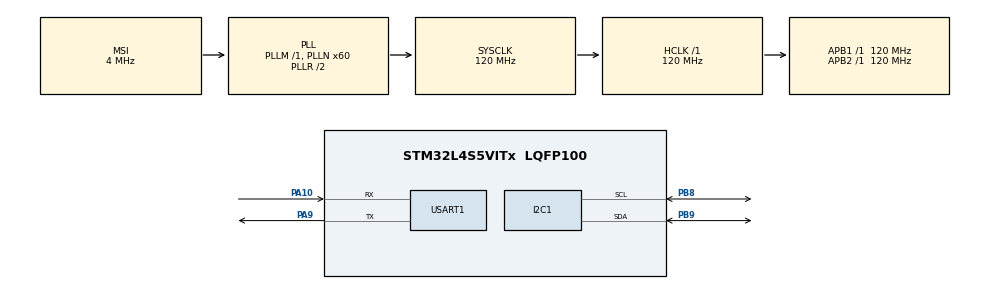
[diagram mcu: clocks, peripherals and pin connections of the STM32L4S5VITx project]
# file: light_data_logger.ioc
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I2C1.Timing=0x30A175AB
Mcu.Family=STM32L4
Mcu.Name=STM32L4S5VITx
Mcu.Package=LQFP100
NVIC.PriorityGroup=NVIC_PRIORITYGROUP_4
PA10.Mode=Asynchronous
PA10.Signal=USART1_RX
PA9.Mode=Asynchronous
PA9.Signal=USART1_TX
PB8.Mode=I2C
PB8.Signal=I2C1_SCL
PB9.Mode=I2C
PB9.Signal=I2C1_SDA
ProjectManager.HeapSize=0x200
ProjectManager.StackSize=0x400
ProjectManager.TargetToolchain=STM32CubeIDE
RCC.ADCFreq_Value=48000000
RCC.AHBFreq_Value=120000000
RCC.APB1Freq_Value=120000000
RCC.APB1TimFreq_Value=120000000
RCC.APB2Freq_Value=120000000
RCC.APB2TimFreq_Value=120000000
RCC.CortexFreq_Value=120000000
RCC.HCLKFreq_Value=120000000
RCC.HSE_VALUE=8000000
RCC.HSI48_VALUE=48000000
RCC.HSI_VALUE=16000000
RCC.LSE_VALUE=32768
RCC.MSI_VALUE=4000000
RCC.PLLN=60
RCC.PLLSAI1N=24
RCC.SYSCLKFreq_VALUE=120000000
RCC.SYSCLKSource=RCC_SYSCLKSOURCE_PLLCLK
RCC.USBFreq_Value=48000000
RCC.VCOOutputFreq_Value=240000000
USART1.VirtualMode-Asynchronous=VM_ASYNC
board=B-L4S5I-IOT01A

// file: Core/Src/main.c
/* USER CODE BEGIN Header */
/**
  ******************************************************************************
  * @file           : main.c
  * @brief          : Main program body
  ******************************************************************************
  * @attention
  *
  * Copyright (c) 2024 STMicroelectronics.
  * All rights reserved.
  *
  * This software is licensed under terms that can be found in the LICENSE file
  * in the root directory of this software component.
  * If no LICENSE file comes with this software, it is provided AS-IS.
  *
  ******************************************************************************
  */
/* USER CODE END Header */
#include "main.h"

/* USER CODE BEGIN Includes */
#include "bh1750.h"
#include "stdio.h"
#include "string.h"
/* USER CODE END Includes */

/* USER CODE BEGIN PM */
#define DATA_INPUT_USER 256
#define AXIS_NUMBER 1
/* USER CODE END PM */

I2C_HandleTypeDef hi2c1;

UART_HandleTypeDef huart1;

/* USER CODE BEGIN PV */
float light_buffer[DATA_INPUT_USER * AXIS_NUMBER] = { 0 };
/* USER CODE END PV */

void SystemClock_Config(void);
static void MX_GPIO_Init(void);
static void MX_I2C1_Init(void);
static void MX_USART1_UART_Init(void);
/* USER CODE BEGIN PFP */
void fill_light_buffer();   // function prototype to fill the buffer
void Log();
/* USER CODE END PFP */

int main(void)
{

  /* MCU Configuration--------------------------------------------------------*/

  /* Reset of all peripherals, Initializes the Flash interface and the Systick. */
  HAL_Init();

  /* Configure the system clock */
  SystemClock_Config();

  /* Initialize all configured peripherals */
  MX_GPIO_Init();
  MX_I2C1_Init();
  MX_USART1_UART_Init();
  /* USER CODE BEGIN 2 */
  BH1750_Init(&hi2c1);
  /* USER CODE END 2 */

  /* Infinite loop */
  /* USER CODE BEGIN WHILE */
  while (1)
  {
	  Log();
    /* USER CODE END WHILE */

  }
}

void SystemClock_Config(void)
{
  RCC_OscInitTypeDef RCC_OscInitStruct = {0};
  RCC_ClkInitTypeDef RCC_ClkInitStruct = {0};

  /** Configure the main internal regulator output voltage
  */
  if (HAL_PWREx_ControlVoltageScaling(PWR_REGULATOR_VOLTAGE_SCALE1_BOOST) != HAL_OK)
  {
    Error_Handler();
  }

  /** Initializes the RCC Oscillators according to the specified parameters
  * in the RCC_OscInitTypeDef structure.
  */
  RCC_OscInitStruct.OscillatorType = RCC_OSCILLATORTYPE_MSI;
  RCC_OscInitStruct.MSIState = RCC_MSI_ON;
  RCC_OscInitStruct.MSICalibrationValue = 0;
  RCC_OscInitStruct.MSIClockRange = RCC_MSIRANGE_6;
  RCC_OscInitStruct.PLL.PLLState = RCC_PLL_ON;
  RCC_OscInitStruct.PLL.PLLSource = RCC_PLLSOURCE_MSI;
  RCC_OscInitStruct.PLL.PLLM = 1;
  RCC_OscInitStruct.PLL.PLLN = 60;
  RCC_OscInitStruct.PLL.PLLP = RCC_PLLP_DIV2;
  RCC_OscInitStruct.PLL.PLLQ = RCC_PLLQ_DIV2;
  RCC_OscInitStruct.PLL.PLLR = RCC_PLLR_DIV2;
  if (HAL_RCC_OscConfig(&RCC_OscInitStruct) != HAL_OK)
  {
    Error_Handler();
  }

  /** Initializes the CPU, AHB and APB buses clocks
  */
  RCC_ClkInitStruct.ClockType = RCC_CLOCKTYPE_HCLK|RCC_CLOCKTYPE_SYSCLK
                              |RCC_CLOCKTYPE_PCLK1|RCC_CLOCKTYPE_PCLK2;
  RCC_ClkInitStruct.SYSCLKSource = RCC_SYSCLKSOURCE_PLLCLK;
  RCC_ClkInitStruct.AHBCLKDivider = RCC_SYSCLK_DIV1;
  RCC_ClkInitStruct.APB1CLKDivider = RCC_HCLK_DIV1;
  RCC_ClkInitStruct.APB2CLKDivider = RCC_HCLK_DIV1;

  if (HAL_RCC_ClockConfig(&RCC_ClkInitStruct, FLASH_LATENCY_5) != HAL_OK)
  {
    Error_Handler();
  }
}

static void MX_I2C1_Init(void)
{

  hi2c1.Instance = I2C1;
  hi2c1.Init.Timing = 0x30A175AB;
  hi2c1.Init.OwnAddress1 = 0;
  hi2c1.Init.AddressingMode = I2C_ADDRESSINGMODE_7BIT;
  hi2c1.Init.DualAddressMode = I2C_DUALADDRESS_DISABLE;
  hi2c1.Init.OwnAddress2 = 0;
  hi2c1.Init.OwnAddress2Masks = I2C_OA2_NOMASK;
  hi2c1.Init.GeneralCallMode = I2C_GENERALCALL_DISABLE;
  hi2c1.Init.NoStretchMode = I2C_NOSTRETCH_DISABLE;
  if (HAL_I2C_Init(&hi2c1) != HAL_OK)
  {
    Error_Handler();
  }

  /** Configure Analogue filter
  */
  if (HAL_I2CEx_ConfigAnalogFilter(&hi2c1, I2C_ANALOGFILTER_ENABLE) != HAL_OK)
  {
    Error_Handler();
  }

  /** Configure Digital filter
  */
  if (HAL_I2CEx_ConfigDigitalFilter(&hi2c1, 0) != HAL_OK)
  {
    Error_Handler();
  }

}

static void MX_USART1_UART_Init(void)
{

  huart1.Instance = USART1;
  huart1.Init.BaudRate = 115200;
  huart1.Init.WordLength = UART_WORDLENGTH_8B;
  huart1.Init.StopBits = UART_STOPBITS_1;
  huart1.Init.Parity = UART_PARITY_NONE;
  huart1.Init.Mode = UART_MODE_TX_RX;
  huart1.Init.HwFlowCtl = UART_HWCONTROL_NONE;
  huart1.Init.OverSampling = UART_OVERSAMPLING_16;
  huart1.Init.OneBitSampling = UART_ONE_BIT_SAMPLE_DISABLE;
  huart1.Init.ClockPrescaler = UART_PRESCALER_DIV1;
  huart1.AdvancedInit.AdvFeatureInit = UART_ADVFEATURE_NO_INIT;
  if (HAL_UART_Init(&huart1) != HAL_OK)
  {
    Error_Handler();
  }
  if (HAL_UARTEx_SetTxFifoThreshold(&huart1, UART_TXFIFO_THRESHOLD_1_8) != HAL_OK)
  {
    Error_Handler();
  }
  if (HAL_UARTEx_SetRxFifoThreshold(&huart1, UART_RXFIFO_THRESHOLD_1_8) != HAL_OK)
  {
    Error_Handler();
  }
  if (HAL_UARTEx_DisableFifoMode(&huart1) != HAL_OK)
  {
    Error_Handler();
  }

}

static void MX_GPIO_Init(void)
{

  /* GPIO Ports Clock Enable */
  __HAL_RCC_GPIOB_CLK_ENABLE();

}

/* USER CODE BEGIN 4 */
int __io_putchar(int ch) {
  HAL_UART_Transmit(&huart1, (uint8_t *)&ch, 1, HAL_MAX_DELAY);
  return ch;
}

void fill_light_buffer() {
    for (int i = 0; i < DATA_INPUT_USER; i++) {
      light_buffer[AXIS_NUMBER * i] = BH1750_ReadLux(&hi2c1);
  }
}

void Log() {
	fill_light_buffer();
	for (int i = 0; i < DATA_INPUT_USER; i++) {
	    	      printf("%.2f",light_buffer[AXIS_NUMBER * i]);
	    	      printf(" ");

	    	    }
	    	  printf("\r\n");
	    	  HAL_Delay(100);

}
/* USER CODE END 4 */

void Error_Handler(void)
{
  __disable_irq();
  while (1)
  {
  }
}
